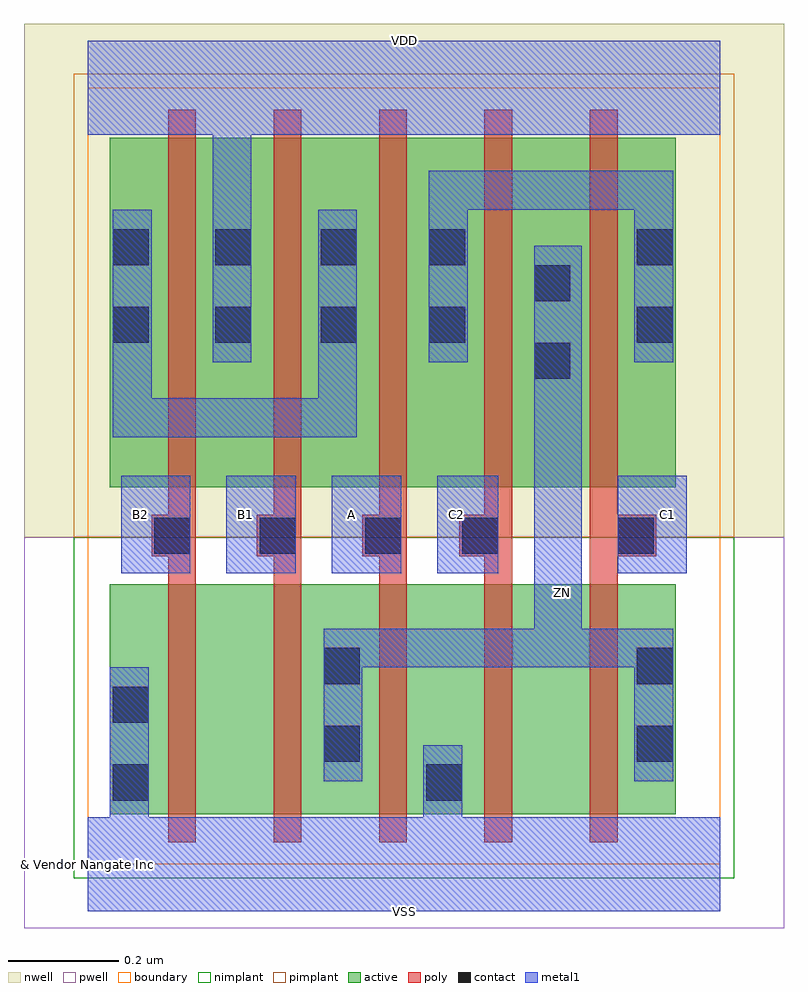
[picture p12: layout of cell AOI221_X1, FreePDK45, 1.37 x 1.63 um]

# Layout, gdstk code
import gdstk
lib = gdstk.Library(unit=1e-6, precision=1e-10)
def R(c, l, rs):  # rectangles x0, y0, x1, y1
    for r in rs: c.add(gdstk.rectangle(r[:2], r[2:], *l))
def A(c, l, x, y, w, h, nx, ny, dx, dy):  # array of equal rectangles
    R(c, l, [(x+i*dx, y+j*dy, x+i*dx+w, y+j*dy+h) for i in range(nx) for j in range(ny)])
def P(c, l, *ps):  # polygons
    for p in ps: c.add(gdstk.Polygon(p, *l))
active = (1, 0)
pwell = (2, 0)
nwell = (3, 0)
nimplant = (4, 0)
pimplant = (5, 0)
poly = (9, 0)
contact = (10, 0)
metal1 = (11, 0)
boundary = (235, 0)

aoi221_x1 = lib.new_cell('AOI221_X1')
R(aoi221_x1, active, [(0.04,0.09,1.06,0.505), (0.04,0.68,1.06,1.31)])
R(aoi221_x1, pwell, [(-0.115,-0.115,1.255,0.59)])
R(aoi221_x1, nwell, [(-0.115,0.59,1.255,1.515)])
R(aoi221_x1, nimplant, [(-0.025,-0.025,1.165,0.59)])
R(aoi221_x1, pimplant, [(-0.025,0.59,1.165,1.425)])
P(aoi221_x1, poly, [(0.145,0.04),(0.145,0.555),(0.115,0.555),(0.115,0.63),(0.145,0.63),(0.145,1.36),(0.195,1.36),(0.195,0.04)],
  [(0.335,0.04),(0.335,0.555),(0.305,0.555),(0.305,0.63),(0.335,0.63),(0.335,1.36),(0.385,1.36),(0.385,0.04)],
  [(0.525,0.04),(0.525,0.555),(0.495,0.555),(0.495,0.63),(0.525,0.63),(0.525,1.36),(0.575,1.36),(0.575,0.04)],
  [(0.715,0.04),(0.715,0.555),(0.67,0.555),(0.67,0.63),(0.715,0.63),(0.715,1.36),(0.765,1.36),(0.765,0.04)],
  [(0.905,0.04),(0.905,1.36),(0.955,1.36),(0.955,0.63),(1.025,0.63),(1.025,0.555),(0.955,0.555),(0.955,0.04)])
A(aoi221_x1, contact, 0.12, 0.56, 0.065, 0.065, 3, 1, 0.19, 0)
R(aoi221_x1, contact, [(0.045,0.115,0.11,0.18), (0.61,0.115,0.675,0.18), (0.425,0.185,0.49,0.25), (0.99,0.185,1.055,0.25), (0.045,0.255,0.11,0.32), (0.425,0.325,0.49,0.39), (0.99,0.325,1.055,0.39), (0.675,0.56,0.74,0.625), (0.955,0.56,1.02,0.625), (0.805,0.875,0.87,0.94), (0.045,0.94,0.11,1.005), (0.23,0.94,0.295,1.005), (0.42,0.94,0.485,1.005), (0.615,0.94,0.68,1.005), (0.99,0.94,1.055,1.005), (0.805,1.015,0.87,1.08), (0.045,1.08,0.11,1.145), (0.23,1.08,0.295,1.145), (0.42,1.08,0.485,1.145), (0.615,1.08,0.68,1.145), (0.99,1.08,1.055,1.145)])
A(aoi221_x1, metal1, 0.06, 0.525, 0.125, 0.175, 3, 1, 0.19, 0)
R(aoi221_x1, metal1, [(0.63,0.525,0.74,0.7), (0.955,0.525,1.08,0.7)])
P(aoi221_x1, metal1, [(0.045,0.77),(0.045,1.18),(0.115,1.18),(0.115,0.84),(0.415,0.84),(0.415,1.18),(0.485,1.18),(0.485,0.77)],
  [(0.425,0.15),(0.425,0.425),(0.805,0.425),(0.805,1.115),(0.89,1.115),(0.89,0.425),(1.055,0.425),(1.055,0.15),(0.985,0.15),(0.985,0.355),(0.495,0.355),(0.495,0.15)],
  [(0.615,0.905),(0.615,1.25),(1.055,1.25),(1.055,0.905),(0.985,0.905),(0.985,1.18),(0.685,1.18),(0.685,0.905)],
  [(0,-0.085),(0,0.085),(0.04,0.085),(0.04,0.355),(0.11,0.355),(0.11,0.085),(0.605,0.085),(0.605,0.215),(0.675,0.215),(0.675,0.085),(1.14,0.085),(1.14,-0.085)],
  [(0.225,0.905),(0.225,1.315),(0,1.315),(0,1.485),(1.14,1.485),(1.14,1.315),(0.295,1.315),(0.295,0.905)])
R(aoi221_x1, boundary, [(0,0,1.14,1.4)])
aoi221_x1.add(gdstk.Label('A', (0.475,0.63), layer=11, texttype=0))
aoi221_x1.add(gdstk.Label('B1', (0.285,0.63), layer=11, texttype=0))
aoi221_x1.add(gdstk.Label('B2', (0.095,0.63), layer=11, texttype=0))
aoi221_x1.add(gdstk.Label('C1', (1.045,0.63), layer=11, texttype=0))
aoi221_x1.add(gdstk.Label('C2', (0.665,0.63), layer=11, texttype=0))
aoi221_x1.add(gdstk.Label('VDD', (0.57,1.485), layer=11, texttype=0))
aoi221_x1.add(gdstk.Label('VSS', (0.57,-0.085), layer=11, texttype=0))
aoi221_x1.add(gdstk.Label('ZN', (0.855,0.49), layer=11, texttype=0))
aoi221_x1.add(gdstk.Label('& Vendor Nangate Inc', (0,0), layer=63, texttype=63))
aoi221_x1.add(gdstk.Label('& Product Open Cell Library', (0,0), layer=63, texttype=63))
aoi221_x1.add(gdstk.Label('& Version 2010_12', (0,0), layer=63, texttype=63))
aoi221_x1.add(gdstk.Label('& Instance AOI221_X1', (0,0), layer=63, texttype=63))

lib.write_gds('AOI221_X1.gds')
